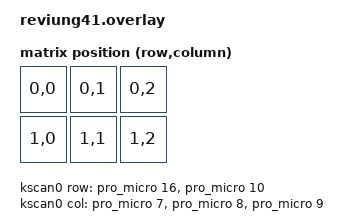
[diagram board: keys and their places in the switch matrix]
/*
 * Copyright (c) 2020 The ZMK Contributors
 *
 * SPDX-License-Identifier: MIT
 */

#include <dt-bindings/zmk/matrix_transform.h>
/*
#include <layouts/gtips/reviung41.dtsi>
*/


/{
    gtips_reviung41_layout: gtips_reviung41_layout {
        compatible = "zmk,physical-layout";
        display-name = "reviung41";

        keys
            = <&key_physical_attrs 100 100    0    0       0     0     0>
            , <&key_physical_attrs 100 100  100    0       0     0     0>
            , <&key_physical_attrs 100 100  200    0       0     0     0>
            , <&key_physical_attrs 100 100    0  100       0     0     0>
            , <&key_physical_attrs 100 100  100  100       0     0     0>
            , <&key_physical_attrs 100 100  200  100       0     0     0>
            ;
    };
};



&gtips_reviung41_layout {
    transform = <&default_transform>;
};

/ {
    chosen {
        zmk,kscan = &kscan0;
        zmk,physical-layout = &gtips_reviung41_layout;

/*
        zmk,matrix-transform = &default_transform;
*/
    };


    default_transform: keymap_transform_0 {
        compatible = "zmk,matrix-transform";
        columns = <3>;
        rows = <2>;

        map = <
        RC(0,0) RC(0,1) RC(0,2)
        RC(1,0) RC(1,1) RC(1,2)
        >;
    };

    kscan0: kscan_0 {
        compatible = "zmk,kscan-gpio-matrix";
        wakeup-source;

        diode-direction = "col2row";

         col-gpios
            = <&pro_micro 7 GPIO_ACTIVE_HIGH>
            , <&pro_micro 8 GPIO_ACTIVE_HIGH>
            , <&pro_micro 9 GPIO_ACTIVE_HIGH>
            ;
 
        row-gpios
            = <&pro_micro 16 (GPIO_ACTIVE_HIGH | GPIO_PULL_DOWN)>
            , <&pro_micro 10 (GPIO_ACTIVE_HIGH | GPIO_PULL_DOWN)>
            ;
    };



/*
        col-gpios
            = <&gpio0 11  (GPIO_ACTIVE_HIGH | GPIO_PULL_DOWN)>
            , <&gpio1 4   (GPIO_ACTIVE_HIGH | GPIO_PULL_DOWN)>
            , <&gpio1 6   (GPIO_ACTIVE_HIGH | GPIO_PULL_DOWN)>
            ;

        row-gpios
            = <&gpio0 10  GPIO_ACTIVE_HIGH>
            , <&gpio0 9   GPIO_ACTIVE_HIGH>
            ;



        col-gpios
            = <&gpio0 11  GPIO_ACTIVE_HIGH>
            , <&gpio1 4   GPIO_ACTIVE_HIGH>
            , <&gpio1 6   GPIO_ACTIVE_HIGH>
            ;

        row-gpios
            = <&gpio0 10  (GPIO_ACTIVE_HIGH | GPIO_PULL_DOWN)>
            , <&gpio0 9   (GPIO_ACTIVE_HIGH | GPIO_PULL_DOWN)>
            ;



 *        col-gpios
 *           = <&pro_micro 7 GPIO_ACTIVE_HIGH>
 *           , <&pro_micro 8 GPIO_ACTIVE_HIGH>
 *           , <&pro_micro 9 GPIO_ACTIVE_HIGH>
 *           ;
 *
 *       row-gpios
 *           = <&pro_micro 16 (GPIO_ACTIVE_HIGH | GPIO_PULL_DOWN)>
 *           , <&pro_micro 10 (GPIO_ACTIVE_HIGH | GPIO_PULL_DOWN)>
 *           ;
*/
    
};
